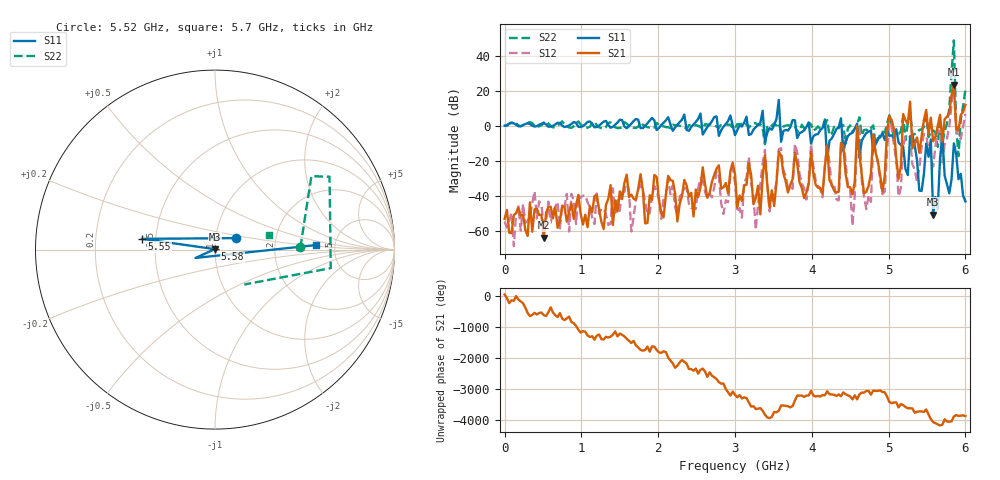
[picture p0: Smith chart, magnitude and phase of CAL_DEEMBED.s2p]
#  HZ  S  DB  R  50.0
! Rohde & Schwarz ZVL13 2Ports - Version 3.20 - 1303.6509k13 SN: 100953
! Date: 2024-10-09 08:11:14
! Data & Calibration Information:
! Trc1:S11(TOSM) Trc4:S21(TOSM) Trc2:S12(TOSM) Trc3:S22(TOSM)
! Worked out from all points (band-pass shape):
!   201 points, 9 kHz to 6 GHz, reference 50 ohm
!   highest |S21| = 23.61 dB at 5.85 GHz (marker M1); lowest = -64.0 dB at 510 MHz (marker M2)
!   |S21| within 3 dB of the highest: 5.834739 GHz to 5.853605 GHz (18.87 MHz wide, 0.323 % of centre)
!   lowest |S11| = -50.8 dB at 5.58 GHz (marker M3), VSWR 1.01, Z = 49.9 + j0.266 ohm
!   |S11| at or under -10 dB: 5.14 GHz to 5.274 GHz (134.9 MHz wide, 2.59 % of centre); 5.334 GHz to 5.543 GHz (208.6 MHz wide, 3.84 % of centre); 5.85 GHz to end of sweep (the widest 3 of 10)
!   |S22| runs from -17.3 to 49.0 dB; largest |S21 - S12| = 30
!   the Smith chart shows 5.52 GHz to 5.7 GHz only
!   S11 on the Smith chart (normalised r, x): 5.52 GHz: 1.25, +0.16; 5.55 GHz: 0.42, +0.06; 5.58 GHz: 1.00, +0.01; 5.7 GHz: 3.56, +0.26
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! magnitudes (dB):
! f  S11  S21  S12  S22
! 9 kHz  0.1  -53.2  -54.8  0.1
! 510 MHz  1.7  -64.0  -56.8  1.9
! 1.02 GHz  -0.1  -56.5  -39.9  -0.4
! 2.01 GHz  -1.1  -42.5  -42.0  0.6
! 3 GHz  -5.2  -27.6  -32.6  -1.3
! 4.02 GHz  -5.9  -27.0  -22.9  -2.7
! 4.35 GHz  -0.6  -37.7  -42.7  -1.3
! 4.41 GHz  -14.3  -11.2  -5.0  0.4
! 4.53 GHz  -3.9  -39.2  -57.2  -3.4
! 4.62 GHz  -18.2  -15.9  0.1  5.0
! 4.71 GHz  -4.0  -37.7  -47.7  -2.1
! 4.95 GHz  -8.0  -28.6  -37.5  -3.7
! 5.01 GHz  -5.7  5.7  5.5  6.2
! 5.13 GHz  -9.6  -30.3  -40.3  -4.7
! 5.28 GHz  -5.9  13.9  -6.2  8.0
! 5.52 GHz  -17.6  -5.0  -13.6  -6.5
! 5.55 GHz  -7.7  4.8  -18.3  -3.4
! 5.58 GHz  -50.8  -8.8  -23.3  -2.4
! 5.7 GHz  -5.0  -8.9  -20.9  -10.2
! 5.85 GHz  -9.9  23.6  24.6  49.0
! 5.91 GHz  -30.5  -2.6  -6.6  -17.3
! 6 GHz  -43.2  12.1  6.8  20.6
